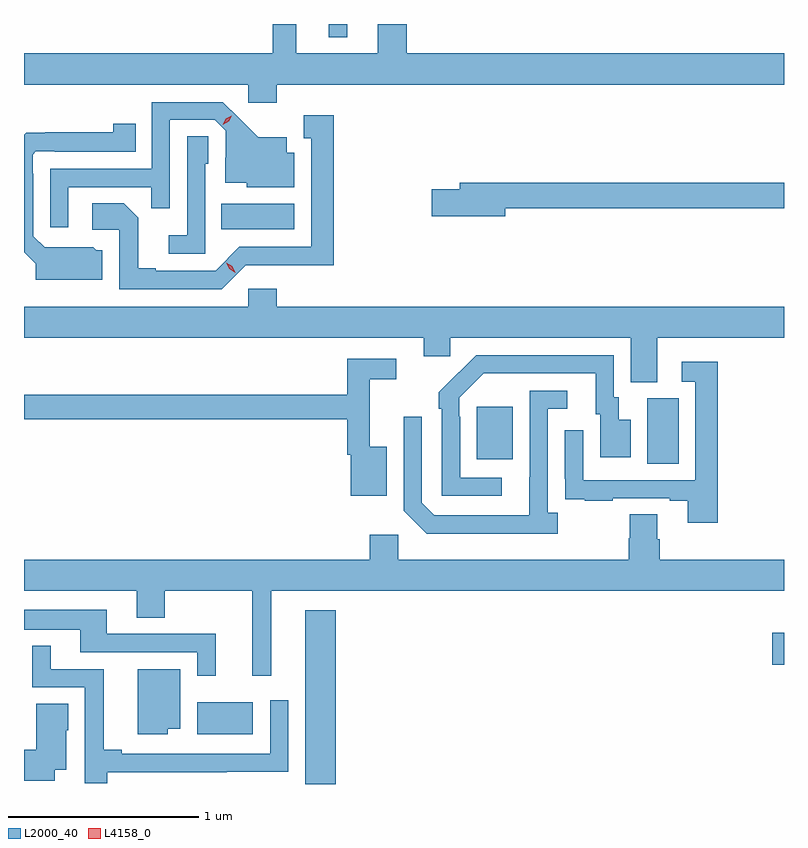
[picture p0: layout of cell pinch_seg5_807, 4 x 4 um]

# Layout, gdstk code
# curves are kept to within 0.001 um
import gdstk
lib = gdstk.Library(unit=1e-6, precision=1e-09)
def R(c, l, rs):  # rectangles x0, y0, x1, y1
    for r in rs: c.add(gdstk.rectangle(r[:2], r[2:], *l))
def P(c, l, *ps):  # polygons
    for p in ps: c.add(gdstk.Polygon(p, *l))
L2000_40 = (2000, 40)
L4158_0 = (4158, 0)

pinch_seg5_807 = lib.new_cell('pinch_seg5_807')
R(pinch_seg5_807, L2000_40, [(803.366,899.699,803.525,900.613), (802.796,899.96,803.089,900.13), (805.824,900.326,805.885,900.496), (805.166,901.384,805.33,901.728), (804.269,901.409,804.457,901.684), (802.924,902.618,803.308,902.752), (803.489,903.629,803.587,903.699)])
P(pinch_seg5_807, L2000_40, [(803.216,903.38),(805.885,903.38),(805.885,903.544),(803.9,903.544),(803.9,903.699),(803.747,903.699),(803.747,903.544),(803.317,903.544),(803.317,903.699),(803.195,903.699),(803.195,903.544),(801.885,903.544),(801.885,903.38),(803.064,903.38),(803.064,903.285),(803.216,903.285)],
  [(802.119,902.841),(802.555,902.841),(802.555,902.728),(802.653,902.728),(802.653,903.195),(802.89,903.195),(802.947,903.138),(802.947,902.996),(802.943,902.996),(802.943,902.864),(803.058,902.864),(803.058,902.84),(803.308,902.84),(803.308,903.022),(803.269,903.022),(803.269,903.103),(803.117,903.103),(802.93,903.288),(802.557,903.288),(802.557,902.937),(802.023,902.937),(802.023,902.628),(802.119,902.628)],
  [(803.052,902.43),(803.515,902.429),(803.515,903.22),(803.357,903.22),(803.357,903.099),(803.396,903.099),(803.396,902.526),(803.019,902.526),(802.893,902.4),(802.579,902.4),(802.579,902.413),(802.485,902.413),(802.485,902.68),(802.409,902.756),(802.245,902.756),(802.245,902.616),(802.386,902.616),(802.386,902.304),(802.926,902.304)],
  [(802.297,902.508),(802.266,902.508),(802.25,902.524),(801.993,902.523),(801.933,902.583),(801.933,902.912),(801.93,902.912),(801.93,903.012),(801.948,903.03),(802.048,903.03),(802.048,903.027),(802.472,903.027),(802.472,903.175),(802.354,903.175),(802.354,903.128),(801.896,903.127),(801.885,903.116),(801.885,902.498),(801.947,902.436),(801.947,902.354),(802.297,902.354)],
  [(802.839,902.964),(802.854,902.964),(802.854,903.107),(802.743,903.107),(802.743,902.587),(802.647,902.587),(802.647,902.49),(802.839,902.49)],
  [(804.418,902.728),(805.885,902.728),(805.885,902.864),(804.179,902.864),(804.179,902.828),(804.03,902.828),(804.03,902.686),(804.418,902.686)],
  [(805.219,902.048),(805.885,902.048),(805.885,902.212),(803.216,902.212),(803.216,902.305),(803.064,902.305),(803.064,902.212),(801.885,902.212),(801.885,902.048),(803.99,902.048),(803.99,901.95),(804.129,901.95),(804.129,902.048),(805.079,902.048),(805.079,901.813),(805.219,901.813)],
  [(804.4,901.311),(804.18,901.311),(804.18,901.631),(804.177,901.631),(804.177,901.731),(804.306,901.86),(804.893,901.86),(804.893,901.644),(804.917,901.644),(804.917,901.419),(805.078,901.419),(805.078,901.615),(805.015,901.615),(805.015,901.734),(804.99,901.734),(804.99,901.956),(804.266,901.956),(804.069,901.761),(804.069,901.673),(804.084,901.673),(804.084,901.215),(804.4,901.215)],
  [(803.794,901.474),(803.705,901.474),(803.705,901.83),(803.845,901.83),(803.845,901.938),(803.587,901.938),(803.587,901.747),(801.885,901.747),(801.885,901.618),(803.587,901.618),(803.587,901.431),(803.606,901.431),(803.606,901.217),(803.794,901.217)],
  [(805.535,901.921),(805.347,901.921),(805.347,901.815),(805.419,901.815),(805.419,901.299),(804.828,901.299),(804.828,901.561),(804.732,901.561),(804.732,901.306),(804.733,901.306),(804.733,901.197),(804.835,901.197),(804.835,901.191),(804.983,901.191),(804.983,901.203),(805.283,901.203),(805.283,901.191),(805.379,901.191),(805.379,901.074),(805.535,901.074)],
  [(804.694,901.126),(804.642,901.126),(804.642,901.674),(804.745,901.674),(804.745,901.77),(804.546,901.77),(804.545,901.113),(804.045,901.113),(803.979,901.179),(803.979,901.633),(803.883,901.633),(803.883,901.137),(804.004,901.016),(804.694,901.016)],
  [(803.186,900.716),(805.885,900.716),(805.885,900.88),(805.232,900.88),(805.232,900.986),(805.219,900.986),(805.219,901.118),(805.072,901.118),(805.072,900.993),(805.067,900.993),(805.067,900.88),(803.856,900.88),(803.856,901.012),(803.705,901.012),(803.705,900.88),(801.885,900.88),(801.885,900.716),(802.478,900.716),(802.478,900.574),(802.626,900.574),(802.626,900.716),(803.087,900.716),(803.087,900.27),(803.186,900.27)],
  [(802.895,900.489),(802.321,900.489),(802.321,900.616),(801.885,900.616),(801.885,900.512),(802.181,900.512),(802.181,900.393),(802.797,900.393),(802.797,900.27),(802.895,900.27)],
  [(802.322,899.762),(802.952,899.762),(802.952,899.763),(803.277,899.763),(803.277,900.139),(803.181,900.139),(803.181,899.859),(802.399,899.859),(802.399,899.879),(802.304,899.879),(802.304,900.303),(802.027,900.303),(802.027,900.427),(801.929,900.427),(801.929,900.207),(802.206,900.207),(802.206,899.703),(802.322,899.703)],
  [(802.642,899.99),(802.708,899.99),(802.708,900.304),(802.484,900.304),(802.484,899.96),(802.642,899.96)],
  [(802.048,899.774),(802.108,899.774),(802.108,899.982),(802.117,899.982),(802.117,900.122),(801.95,900.122),(801.95,899.878),(801.885,899.878),(801.885,899.717),(802.048,899.717)])
P(pinch_seg5_807, L4158_0, [(802.932,903.17),(802.932,903.17),(802.948,903.2),(802.978,903.216),(802.979,903.216),(802.979,903.215),(802.962,903.186),(802.932,903.17)],
  [(802.998,902.391),(802.966,902.41),(802.949,902.442),(802.949,902.443),(802.949,902.443),(802.981,902.423),(802.998,902.391),(802.998,902.391)])

lib.write_gds('pinch_seg5_807.gds')
